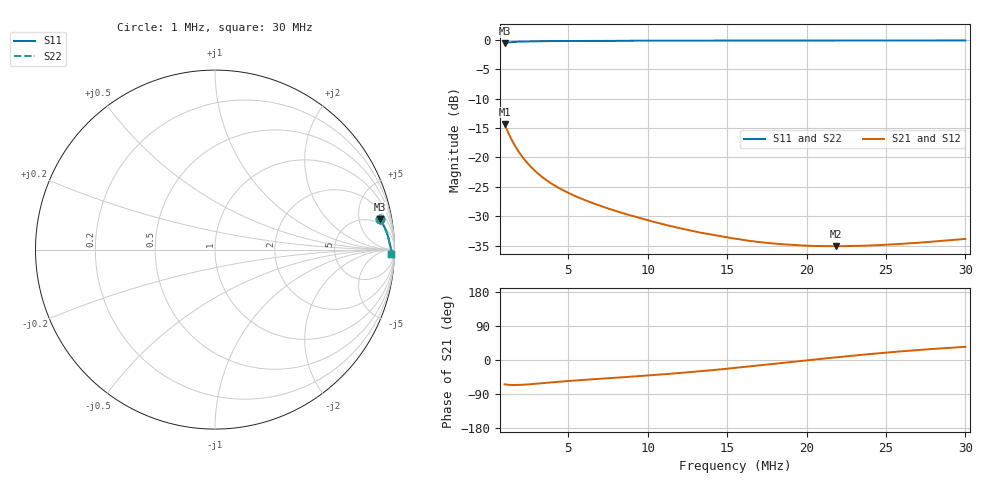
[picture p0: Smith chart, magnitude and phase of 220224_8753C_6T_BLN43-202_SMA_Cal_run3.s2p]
# MHz S RI R 50
! S-Parameters data
! Freq  reS11  imS11  reS21  imS21  reS12  imS12  reS22  imS22
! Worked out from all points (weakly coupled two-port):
!   201 points, 1 MHz to 30 MHz, reference 50 ohm
!   highest |S21| = -14.33 dB at 1 MHz (marker M1); lowest = -35.1 dB at 21.88 MHz (marker M2)
!   lowest |S11| = -0.6 dB at 1 MHz (marker M3), VSWR 29.19, Z = 178 + j475 ohm
!   |S11| at or under -10 dB: nowhere
!   |S22| runs from -0.6 to -0.1 dB; largest |S21 - S12| = 0.00069
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1  0.918 0.171  0.0837 -0.173  0.0832 -0.1725  0.9172 0.1716
1.145  0.9285 0.1543  0.0727 -0.1558  0.0724 -0.1555  0.9281 0.1547
1.435  0.9429 0.1284  0.0581 -0.1298  0.0579 -0.1295  0.9426 0.1285
1.58  0.9476 0.118  0.0531 -0.1195  0.0531 -0.1193  0.9474 0.1179
1.87  0.9546 0.1014  0.0461 -0.1031  0.0461 -0.1029  0.9543 0.1017
2.305  0.9608 0.0836  0.0398 -0.0852  0.0398 -0.0851  0.9606 0.0838
2.885  0.9654 0.0673  0.0352 -0.0691  0.0351 -0.0691  0.9653 0.0673
3.465  0.968 0.0563  0.0324 -0.0582  0.0324 -0.0582  0.968 0.0562
4.19  0.9702 0.0465  0.0302 -0.0487  0.0302 -0.0487  0.9702 0.0466
5.06  0.972 0.0382  0.0284 -0.0408  0.0283 -0.0408  0.9719 0.0383
5.93  0.9737 0.0321  0.0268 -0.035  0.0268 -0.035  0.9735 0.0322
7.09  0.975 0.026  0.0252 -0.0292  0.0251 -0.0292  0.9752 0.026
8.25  0.9767 0.021  0.0238 -0.0246  0.0237 -0.0247  0.9765 0.0205
10.715  0.9786 0.0125  0.0216 -0.0173  0.0216 -0.0173  0.9788 0.0122
13.18  0.9802 0.00601  0.0201 -0.0117  0.0201 -0.0117  0.9803 0.00555
15.5  0.981 0.000763  0.0191 -0.00729  0.0191 -0.00731  0.9812 0.000183
16.515  0.9811 -0.00137  0.0187 -0.00557  0.0187 -0.00554  0.9813 -0.00174
17.965  0.9816 -0.00443  0.0183 -0.00327  0.0183 -0.00326  0.9816 -0.00476
20.43  0.9821 -0.009  0.0177 0.000225  0.0178 0.000282  0.9821 -0.00937
21.88  0.9822 -0.0116  0.0175 0.00221  0.0175 0.00221  0.9823 -0.0119
25.215  0.9827 -0.0171  0.0171 0.0063  0.0171 0.0063  0.9828 -0.0177
30  0.983 -0.0244  0.0167 0.0116  0.0167 0.0117  0.983 -0.0251
